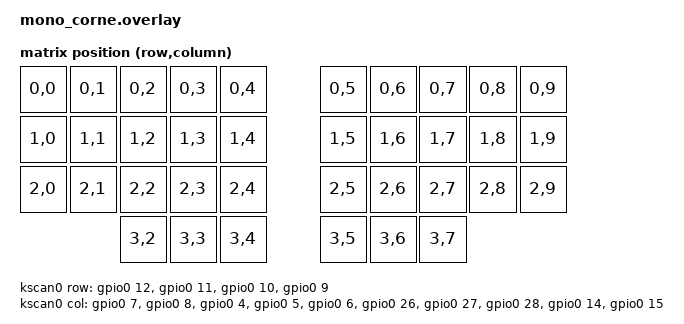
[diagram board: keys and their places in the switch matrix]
#include <dt-bindings/zmk/matrix_transform.h>

/ {
    chosen {
        zmk,kscan = &kscan0;
        zmk,matrix_transform = &default_transform;
    };

    default_transform: matrix_transform {
        compatible = "zmk,matrix-transform";
        columns = <10>;
        rows = <4>;
// | SW2  | SW3  | SW4  | SW5  | SW6  |   | SW6  | SW5  | SW4  | SW3  | SW2  |
// | SW8  | SW9  | SW10 | SW11 | SW12 |   | SW12 | SW11 | SW10 | SW9  | SW8  |
// | SW14 | SW15 | SW16 | SW17 | SW18 |   | SW18 | SW17 | SW16 | SW15 | SW14 |
//               | SW19 | SW20 | SW21 |   | SW21 | SW20 | SW19 |
        map = <
            RC(0,0) RC(0,1) RC(0,2) RC(0,3) RC(0,4)  RC(0,5) RC(0,6) RC(0,7) RC(0,8) RC(0,9)
            RC(1,0) RC(1,1) RC(1,2) RC(1,3) RC(1,4)  RC(1,5) RC(1,6) RC(1,7) RC(1,8) RC(1,9)
            RC(2,0) RC(2,1) RC(2,2) RC(2,3) RC(2,4)  RC(2,5) RC(2,6) RC(2,7) RC(2,8) RC(2,9)
                            RC(3,2) RC(3,3) RC(3,4)  RC(3,5) RC(3,6) RC(3,7)
        >;
    };

    kscan0: kscan_0 {
        compatible = "zmk,kscan-gpio-matrix";
        label = "KSCAN";
        diode-direction = "col2row";

        col-gpios
            = <&gpio0 7 GPIO_ACTIVE_HIGH>
            , <&gpio0 8 GPIO_ACTIVE_HIGH>
            , <&gpio0 4 GPIO_ACTIVE_HIGH>
            , <&gpio0 5 GPIO_ACTIVE_HIGH>
            , <&gpio0 6 GPIO_ACTIVE_HIGH>
            , <&gpio0 26 GPIO_ACTIVE_HIGH>
            , <&gpio0 27 GPIO_ACTIVE_HIGH>
            , <&gpio0 28 GPIO_ACTIVE_HIGH>
            , <&gpio0 14 GPIO_ACTIVE_HIGH>
            , <&gpio0 15 GPIO_ACTIVE_HIGH>
            ;
                
        row-gpios
            = <&gpio0 12 (GPIO_ACTIVE_HIGH | GPIO_PULL_DOWN)>
            , <&gpio0 11 (GPIO_ACTIVE_HIGH | GPIO_PULL_DOWN)>
            , <&gpio0 10 (GPIO_ACTIVE_HIGH | GPIO_PULL_DOWN)>
            , <&gpio0 9 (GPIO_ACTIVE_HIGH | GPIO_PULL_DOWN)>
            ;
    };
};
